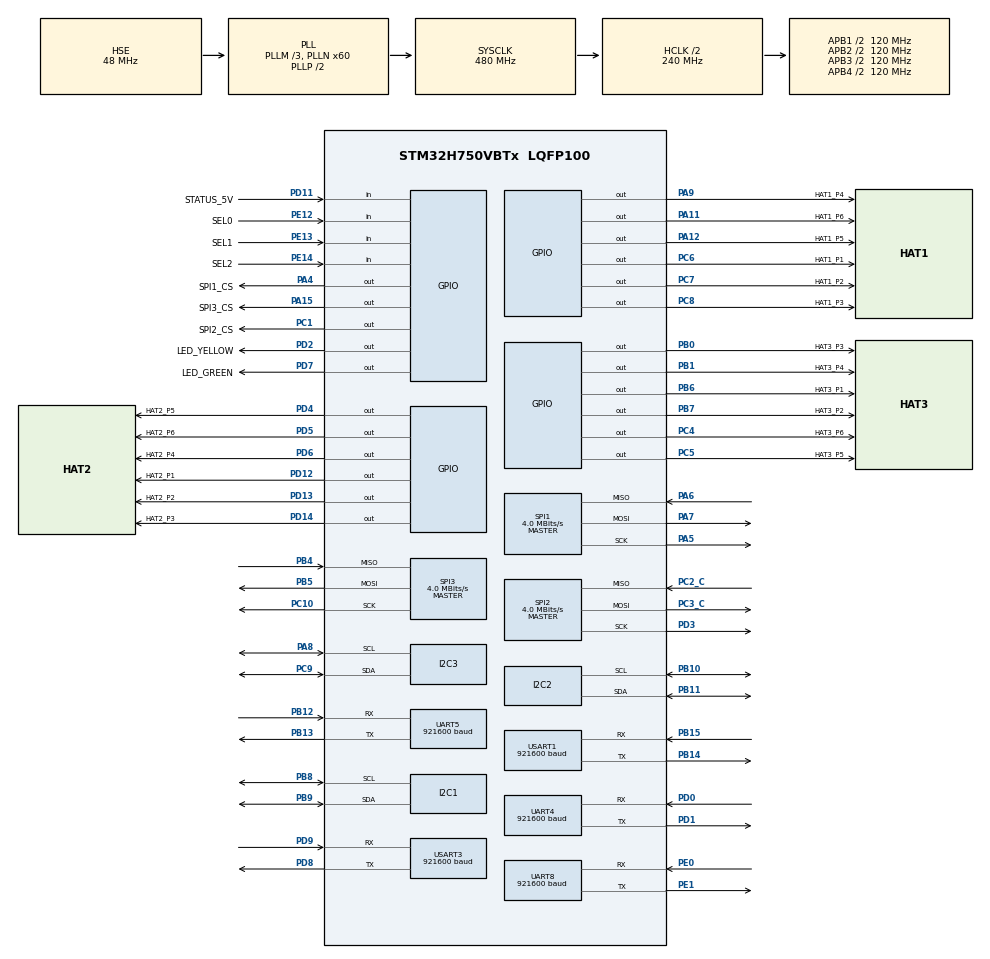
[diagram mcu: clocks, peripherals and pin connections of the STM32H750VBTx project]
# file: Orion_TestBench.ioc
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CORTEX_M7.AccessPermission-Cortex_Memory_Protection_Unit_Region0_Settings=MPU_REGION_FULL_ACCESS
CORTEX_M7.AccessPermission-Cortex_Memory_Protection_Unit_Region1_Settings=MPU_REGION_FULL_ACCESS
CORTEX_M7.BaseAddress-Cortex_Memory_Protection_Unit_Region0_Settings=0x90000000
CORTEX_M7.BaseAddress-Cortex_Memory_Protection_Unit_Region1_Settings=0x90000000
CORTEX_M7.CPU_DCache=Enabled
CORTEX_M7.CPU_ICache=Enabled
CORTEX_M7.DisableExec-Cortex_Memory_Protection_Unit_Region0_Settings=MPU_INSTRUCTION_ACCESS_DISABLE
CORTEX_M7.DisableExec-Cortex_Memory_Protection_Unit_Region1_Settings=MPU_INSTRUCTION_ACCESS_ENABLE
CORTEX_M7.Enable-Cortex_Memory_Protection_Unit_Region0_Settings=MPU_REGION_ENABLE
CORTEX_M7.Enable-Cortex_Memory_Protection_Unit_Region1_Settings=MPU_REGION_ENABLE
CORTEX_M7.IsBufferable-Cortex_Memory_Protection_Unit_Region0_Settings=MPU_ACCESS_BUFFERABLE
CORTEX_M7.IsBufferable-Cortex_Memory_Protection_Unit_Region1_Settings=MPU_ACCESS_BUFFERABLE
CORTEX_M7.IsCacheable-Cortex_Memory_Protection_Unit_Region0_Settings=MPU_ACCESS_CACHEABLE
CORTEX_M7.IsCacheable-Cortex_Memory_Protection_Unit_Region1_Settings=MPU_ACCESS_CACHEABLE
CORTEX_M7.MPU_Control=MPU_PRIVILEGED_DEFAULT
CORTEX_M7.Size-Cortex_Memory_Protection_Unit_Region0_Settings=MPU_REGION_SIZE_16MB
CORTEX_M7.Size-Cortex_Memory_Protection_Unit_Region1_Settings=MPU_REGION_SIZE_1MB
Dma.Request0=UART4_RX
Dma.Request1=UART5_RX
Dma.Request2=UART8_RX
Dma.Request3=USART3_RX
Dma.UART4_RX.0.Direction=DMA_PERIPH_TO_MEMORY
Dma.UART4_RX.0.EventEnable=DISABLE
Dma.UART4_RX.0.FIFOMode=DMA_FIFOMODE_DISABLE
Dma.UART4_RX.0.Instance=DMA1_Stream1
Dma.UART4_RX.0.MemDataAlignment=DMA_MDATAALIGN_BYTE
Dma.UART4_RX.0.MemInc=DMA_MINC_ENABLE
Dma.UART4_RX.0.Mode=DMA_CIRCULAR
Dma.UART4_RX.0.PeriphDataAlignment=DMA_PDATAALIGN_BYTE
Dma.UART4_RX.0.PeriphInc=DMA_PINC_DISABLE
Dma.UART4_RX.0.Polarity=HAL_DMAMUX_REQ_GEN_RISING
Dma.UART4_RX.0.Priority=DMA_PRIORITY_HIGH
Dma.UART4_RX.0.RequestNumber=1
Dma.UART4_RX.0.SignalID=NONE
Dma.UART4_RX.0.SyncEnable=DISABLE
Dma.UART4_RX.0.SyncPolarity=HAL_DMAMUX_SYNC_NO_EVENT
Dma.UART4_RX.0.SyncRequestNumber=1
Dma.UART4_RX.0.SyncSignalID=NONE
Dma.UART5_RX.1.Direction=DMA_PERIPH_TO_MEMORY
Dma.UART5_RX.1.EventEnable=DISABLE
Dma.UART5_RX.1.FIFOMode=DMA_FIFOMODE_DISABLE
Dma.UART5_RX.1.Instance=DMA1_Stream2
Dma.UART5_RX.1.MemDataAlignment=DMA_MDATAALIGN_BYTE
Dma.UART5_RX.1.MemInc=DMA_MINC_ENABLE
Dma.UART5_RX.1.Mode=DMA_CIRCULAR
Dma.UART5_RX.1.PeriphDataAlignment=DMA_PDATAALIGN_BYTE
Dma.UART5_RX.1.PeriphInc=DMA_PINC_DISABLE
Dma.UART5_RX.1.Polarity=HAL_DMAMUX_REQ_GEN_RISING
Dma.UART5_RX.1.Priority=DMA_PRIORITY_HIGH
Dma.UART5_RX.1.RequestNumber=1
Dma.UART5_RX.1.SignalID=NONE
Dma.UART5_RX.1.SyncEnable=DISABLE
Dma.UART5_RX.1.SyncPolarity=HAL_DMAMUX_SYNC_NO_EVENT
Dma.UART5_RX.1.SyncRequestNumber=1
Dma.UART5_RX.1.SyncSignalID=NONE
Dma.UART8_RX.2.Direction=DMA_PERIPH_TO_MEMORY
Dma.UART8_RX.2.EventEnable=DISABLE
Dma.UART8_RX.2.FIFOMode=DMA_FIFOMODE_DISABLE
Dma.UART8_RX.2.Instance=DMA1_Stream3
Dma.UART8_RX.2.MemDataAlignment=DMA_MDATAALIGN_BYTE
Dma.UART8_RX.2.MemInc=DMA_MINC_ENABLE
Dma.UART8_RX.2.Mode=DMA_CIRCULAR
Dma.UART8_RX.2.PeriphDataAlignment=DMA_PDATAALIGN_BYTE
Dma.UART8_RX.2.PeriphInc=DMA_PINC_DISABLE
Dma.UART8_RX.2.Polarity=HAL_DMAMUX_REQ_GEN_RISING
Dma.UART8_RX.2.Priority=DMA_PRIORITY_HIGH
Dma.UART8_RX.2.RequestNumber=1
Dma.UART8_RX.2.SignalID=NONE
Dma.UART8_RX.2.SyncEnable=DISABLE
Dma.UART8_RX.2.SyncPolarity=HAL_DMAMUX_SYNC_NO_EVENT
Dma.UART8_RX.2.SyncRequestNumber=1
Dma.UART8_RX.2.SyncSignalID=NONE
Dma.USART3_RX.3.Direction=DMA_PERIPH_TO_MEMORY
Dma.USART3_RX.3.EventEnable=DISABLE
Dma.USART3_RX.3.FIFOMode=DMA_FIFOMODE_DISABLE
Dma.USART3_RX.3.Instance=DMA1_Stream0
Dma.USART3_RX.3.MemDataAlignment=DMA_MDATAALIGN_BYTE
Dma.USART3_RX.3.MemInc=DMA_MINC_ENABLE
Dma.USART3_RX.3.Mode=DMA_CIRCULAR
Dma.USART3_RX.3.PeriphDataAlignment=DMA_PDATAALIGN_BYTE
Dma.USART3_RX.3.PeriphInc=DMA_PINC_DISABLE
Dma.USART3_RX.3.Polarity=HAL_DMAMUX_REQ_GEN_RISING
Dma.USART3_RX.3.Priority=DMA_PRIORITY_HIGH
Dma.USART3_RX.3.RequestNumber=1
Dma.USART3_RX.3.SignalID=NONE
Dma.USART3_RX.3.SyncEnable=DISABLE
Dma.USART3_RX.3.SyncPolarity=HAL_DMAMUX_SYNC_NO_EVENT
Dma.USART3_RX.3.SyncRequestNumber=1
Dma.USART3_RX.3.SyncSignalID=NONE
FREERTOS.Tasks01=blink01,24,128,StartBlink01,Default,NULL,Dynamic,NULL,NULL;adsTask,40,1024,StartAdsTask,Default,NULL,Dynamic,NULL,NULL;gpioTask,40,128,StartGPIOTask,Default,NULL,Dynamic,NULL,NULL;bmpTask,40,1024,StartBMPTask,Default,NULL,Dynamic,NULL,NULL
FREERTOS.configUSE_NEWLIB_REENTRANT=1
I2C1.Timing=0x307075B1
I2C2.Timing=0x307075B1
I2C3.Timing=0x307075B1
Mcu.Family=STM32H7
Mcu.Name=STM32H750VBTx
Mcu.Package=LQFP100
NVIC.DMA1_Stream0_IRQn=true\:5\:0\:false\:false\:true\:true\:false\:true\:true
NVIC.DMA1_Stream1_IRQn=true\:5\:0\:false\:false\:true\:true\:false\:true\:true
NVIC.DMA1_Stream2_IRQn=true\:5\:0\:false\:false\:true\:true\:false\:true\:true
NVIC.DMA1_Stream3_IRQn=true\:5\:0\:false\:false\:true\:true\:false\:true\:true
NVIC.PriorityGroup=NVIC_PRIORITYGROUP_4
NVIC.TIM6_DAC_IRQn=true\:15\:0\:false\:false\:true\:false\:false\:true\:true
NVIC.TimeBase=TIM6_DAC_IRQn
NVIC.TimeBaseIP=TIM6
NVIC.UART4_IRQn=true\:5\:0\:false\:false\:true\:true\:true\:true\:true
NVIC.UART5_IRQn=true\:5\:0\:false\:false\:true\:true\:true\:true\:true
NVIC.UART8_IRQn=true\:5\:0\:false\:false\:true\:true\:true\:true\:true
NVIC.USART3_IRQn=true\:5\:0\:false\:false\:true\:true\:true\:true\:true
PA11.GPIO_Label=HAT1_P6
PA11.Signal=GPIO_Output
PA12.GPIO_Label=HAT1_P5
PA12.Signal=GPIO_Output
PA13\ (JTMS/SWDIO).Signal=DEBUG_JTMS-SWDIO
PA14\ (JTCK/SWCLK).Signal=DEBUG_JTCK-SWCLK
PA15\ (JTDI).GPIO_Label=SPI3_CS
PA15\ (JTDI).Signal=GPIO_Output
PA4.GPIO_Label=SPI1_CS
PA4.Signal=GPIO_Output
PA5.Mode=Full_Duplex_Master
PA5.Signal=SPI1_SCK
PA6.Mode=Full_Duplex_Master
PA6.Signal=SPI1_MISO
PA7.Mode=Full_Duplex_Master
PA7.Signal=SPI1_MOSI
PA8.Mode=I2C
PA8.Signal=I2C3_SCL
PA9.GPIO_Label=HAT1_P4
PA9.Signal=GPIO_Output
PB0.GPIO_Label=HAT3_P3
PB0.Signal=GPIO_Output
PB1.GPIO_Label=HAT3_P4
PB1.Signal=GPIO_Output
PB10.Mode=I2C
PB10.Signal=I2C2_SCL
PB11.Mode=I2C
PB11.Signal=I2C2_SDA
PB12.Mode=Asynchronous
PB12.Signal=UART5_RX
PB13.Mode=Asynchronous
PB13.Signal=UART5_TX
PB14.Mode=Asynchronous
PB14.Signal=USART1_TX
PB15.Mode=Asynchronous
PB15.Signal=USART1_RX
PB3\ (JTDO/TRACESWO).Signal=DEBUG_JTDO-SWO
PB4\ (NJTRST).Mode=Full_Duplex_Master
PB4\ (NJTRST).Signal=SPI3_MISO
PB5.Mode=Full_Duplex_Master
PB5.Signal=SPI3_MOSI
PB6.GPIO_Label=HAT3_P1
PB6.Signal=GPIO_Output
PB7.GPIO_Label=HAT3_P2
PB7.Signal=GPIO_Output
PB8.GPIO_Pu=GPIO_NOPULL
PB8.Mode=I2C
PB8.Signal=I2C1_SCL
PB9.GPIO_Pu=GPIO_NOPULL
PB9.Mode=I2C
PB9.Signal=I2C1_SDA
PC1.GPIO_Label=SPI2_CS
PC1.Signal=GPIO_Output
PC10.Mode=Full_Duplex_Master
PC10.Signal=SPI3_SCK
PC14-OSC32_IN\ (OSC32_IN).Mode=LSE-External-Oscillator
PC14-OSC32_IN\ (OSC32_IN).Signal=RCC_OSC32_IN
PC15-OSC32_OUT\ (OSC32_OUT).Mode=LSE-External-Oscillator
PC15-OSC32_OUT\ (OSC32_OUT).Signal=RCC_OSC32_OUT
PC2_C.Mode=Full_Duplex_Master
PC2_C.Signal=SPI2_MISO
PC3_C.Mode=Full_Duplex_Master
PC3_C.Signal=SPI2_MOSI
PC4.GPIO_Label=HAT3_P6
PC4.Signal=GPIO_Output
PC5.GPIO_Label=HAT3_P5
PC5.Signal=GPIO_Output
PC6.GPIO_Label=HAT1_P1
PC6.Signal=GPIO_Output
PC7.GPIO_Label=HAT1_P2
PC7.Signal=GPIO_Output
PC8.GPIO_Label=HAT1_P3
PC8.Signal=GPIO_Output
PC9.Mode=I2C
PC9.Signal=I2C3_SDA
PD0.Mode=Asynchronous
PD0.Signal=UART4_RX
PD1.Mode=Asynchronous
PD1.Signal=UART4_TX
PD11.GPIO_Label=STATUS_5V
PD11.Signal=GPIO_Input
PD12.GPIO_Label=HAT2_P1
PD12.Signal=GPIO_Output
PD13.GPIO_Label=HAT2_P2
PD13.Signal=GPIO_Output
PD14.GPIO_Label=HAT2_P3
PD14.Signal=GPIO_Output
PD2.GPIO_Label=LED_YELLOW
PD2.Signal=GPIO_Output
PD3.Mode=Full_Duplex_Master
PD3.Signal=SPI2_SCK
PD4.GPIO_Label=HAT2_P5
PD4.Signal=GPIO_Output
PD5.GPIO_Label=HAT2_P6
PD5.Signal=GPIO_Output
PD6.GPIO_Label=HAT2_P4
PD6.Signal=GPIO_Output
PD7.GPIO_Label=LED_GREEN
PD7.Signal=GPIO_Output
PD8.Mode=Asynchronous
PD8.Signal=USART3_TX
PD9.Mode=Asynchronous
PD9.Signal=USART3_RX
PE0.Mode=Asynchronous
PE0.Signal=UART8_RX
PE1.Mode=Asynchronous
PE1.Signal=UART8_TX
PE12.GPIO_Label=SEL0
PE12.Signal=GPIO_Input
PE13.GPIO_Label=SEL1
PE13.Signal=GPIO_Input
PE14.GPIO_Label=SEL2
PE14.Signal=GPIO_Input
PH0-OSC_IN\ (PH0).Mode=HSE-External-Oscillator
PH0-OSC_IN\ (PH0).Signal=RCC_OSC_IN
PH1-OSC_OUT\ (PH1).Mode=HSE-External-Oscillator
PH1-OSC_OUT\ (PH1).Signal=RCC_OSC_OUT
ProjectManager.HeapSize=0x200
ProjectManager.StackSize=0x400
ProjectManager.TargetToolchain=STM32CubeIDE
RCC.ADCFreq_Value=96750000
RCC.APB1Freq_Value=120000000
RCC.APB2Freq_Value=120000000
RCC.APB3Freq_Value=120000000
RCC.APB4Freq_Value=120000000
RCC.CortexFreq_Value=480000000
RCC.D1PPRE=RCC_APB3_DIV2
RCC.D2PPRE1=RCC_APB1_DIV2
RCC.D2PPRE2=RCC_APB2_DIV2
RCC.D3PPRE=RCC_APB4_DIV2
RCC.DIVM1=3
RCC.DIVN1=60
RCC.HCLKFreq_Value=240000000
RCC.HPRE=RCC_HCLK_DIV2
RCC.HSE_VALUE=48000000
RCC.PLLFRACN=0
RCC.PLLSourceVirtual=RCC_PLLSOURCE_HSE
RCC.SPI123CLockSelection=RCC_SPI123CLKSOURCE_CLKP
RCC.SYSCLKFreq_VALUE=480000000
RCC.SYSCLKSource=RCC_SYSCLKSOURCE_PLLCLK
RCC.USBFreq_Value=480000000
SPI1.BaudRatePrescaler=SPI_BAUDRATEPRESCALER_16
SPI1.CLKPhase=SPI_PHASE_2EDGE
SPI1.CLKPolarity=SPI_POLARITY_HIGH
SPI1.CalculateBaudRate=4.0 MBits/s
SPI1.DataSize=SPI_DATASIZE_8BIT
SPI1.Direction=SPI_DIRECTION_2LINES
SPI1.Mode=SPI_MODE_MASTER
SPI1.VirtualType=VM_MASTER
SPI2.BaudRatePrescaler=SPI_BAUDRATEPRESCALER_16
SPI2.CLKPhase=SPI_PHASE_2EDGE
SPI2.CLKPolarity=SPI_POLARITY_HIGH
SPI2.CalculateBaudRate=4.0 MBits/s
SPI2.DataSize=SPI_DATASIZE_8BIT
SPI2.Direction=SPI_DIRECTION_2LINES
SPI2.Mode=SPI_MODE_MASTER
SPI2.VirtualType=VM_MASTER
SPI3.BaudRatePrescaler=SPI_BAUDRATEPRESCALER_16
SPI3.CLKPhase=SPI_PHASE_2EDGE
SPI3.CLKPolarity=SPI_POLARITY_HIGH
SPI3.CalculateBaudRate=4.0 MBits/s
SPI3.DataSize=SPI_DATASIZE_8BIT
SPI3.Direction=SPI_DIRECTION_2LINES
SPI3.Mode=SPI_MODE_MASTER
SPI3.VirtualType=VM_MASTER
TIM8.AutoReloadPreload=TIM_AUTORELOAD_PRELOAD_ENABLE
TIM8.Period=20000-1
TIM8.Prescaler=240-1
UART4.BaudRate=921600
UART5.BaudRate=921600
UART8.BaudRate=921600
USART1.BaudRate=921600
USART1.VirtualMode-Asynchronous=VM_ASYNC
USART3.BaudRate=921600
USART3.VirtualMode-Asynchronous=VM_ASYNC
VP_FREERTOS_VS_CMSIS_V2.Mode=CMSIS_V2
VP_SYS_VS_tim6.Mode=TIM6
VP_TIM8_VS_ClockSourceINT.Mode=Internal
board=custom

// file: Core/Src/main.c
/* USER CODE BEGIN Header */
/**
  ******************************************************************************
  * @file           : main.c
  * @brief          : Main program body
  ******************************************************************************
  * @attention
  *
  * Copyright (c) 2022 STMicroelectronics.
  * All rights reserved.
  *
  * This software is licensed under terms that can be found in the LICENSE file
  * in the root directory of this software component.
  * If no LICENSE file comes with this software, it is provided AS-IS.
  *
  ******************************************************************************
  */
/* USER CODE END Header */
#include "main.h"
#include "cmsis_os.h"
#include "dma.h"
#include "i2c.h"
#include "spi.h"
#include "tim.h"
#include "usart.h"
#include "gpio.h"

/* USER CODE BEGIN Includes */
#include "stdio.h"
/* USER CODE END Includes */

void SystemClock_Config(void);
void PeriphCommonClock_Config(void);
static void MPU_Config(void);
void MX_FREERTOS_Init(void);

/* USER CODE BEGIN 0 */
uint8_t Rx_data[100] = {0};

uint16_t counter = 0;
int __io_putchar(int ch) {
    ITM_SendChar(ch);
    return ch;
}

void HAL_UART_RxCpltCallback(UART_HandleTypeDef *huart)
{
  SCB_InvalidateDCache_by_Addr((uint32_t*)(((uint32_t)Rx_data) & ~(uint32_t)0x1F), 100+32);
  HAL_UART_Receive_DMA(&huart3, Rx_data, 100);
  HAL_UART_Transmit(&huart1, Rx_data, sizeof(Rx_data), 100);
}

/* USER CODE END 0 */

int main(void)
{

  /* MPU Configuration--------------------------------------------------------*/
  MPU_Config();

  /* Enable I-Cache---------------------------------------------------------*/
  SCB_EnableICache();

  /* Enable D-Cache---------------------------------------------------------*/
  SCB_EnableDCache();

  /* MCU Configuration--------------------------------------------------------*/

  /* Reset of all peripherals, Initializes the Flash interface and the Systick. */
  HAL_Init();

  /* Configure the system clock */
  SystemClock_Config();

/* Configure the peripherals common clocks */
  PeriphCommonClock_Config();

  /* Initialize all configured peripherals */
  MX_GPIO_Init();
  MX_DMA_Init();
  MX_I2C1_Init();
  MX_I2C2_Init();
  MX_I2C3_Init();
  MX_SPI1_Init();
  MX_SPI2_Init();
  MX_SPI3_Init();
  MX_TIM8_Init();
  MX_USART1_UART_Init();
  MX_USART3_UART_Init();
  MX_UART4_Init();
  MX_UART5_Init();
  MX_UART8_Init();
  /* USER CODE BEGIN 2 */
  uint8_t MSG[100] = {0};
  uint8_t MSG_PWR[45] = {'\0'};
  HAL_TIM_PWM_Start (&htim8, TIM_CHANNEL_1);
//  TIM8->CCR1 = 1;
  int32_t CH1_DC = 1000;

  HAL_UART_Receive_DMA(&huart3, Rx_data, 100);
  /* USER CODE END 2 */

  /* Init scheduler */
  osKernelInitialize();  /* Call init function for freertos objects (in freertos.c) */
  MX_FREERTOS_Init();

  /* Start scheduler */
  osKernelStart();

  /* We should never get here as control is now taken by the scheduler */
  /* Infinite loop */
  while (1)
  {

    /* USER CODE BEGIN 3 */
	  counter++;
	  HAL_Delay(1000);
//	  HAL_UART_Receive (&huart3, Rx_data, 100, 1000);
//	  HAL_GPIO_TogglePin(LED_GREEN_GPIO_Port, LED_GREEN_Pin);
//	  HAL_GPIO_TogglePin(LED_YELLOW_GPIO_Port, LED_YELLOW_Pin);
	  printf("Hello world! %d \n", counter);
//	  printf("\n\nCore=%d, %d MHz\n", SystemCoreClock, SystemCoreClock / 1000000);
	  sprintf((char*)MSG, "Hello world from UART! Tracing counter = %d\r\n", counter);
//	  HAL_UART_Transmit(&huart1, MSG, sizeof(MSG), 100);
//	  HAL_UART_Transmit(&huart5, MSG, sizeof(MSG), 100);
//	  HAL_UART_Transmit(&huart3, MSG, sizeof(MSG), 100);
//	  HAL_UART_Transmit(&huart4, MSG, sizeof(MSG), 100);
//	  HAL_UART_Transmit(&huart8, MSG, sizeof(MSG), 100);
//	  if (HAL_GPIO_ReadPin(STATUS_5V_GPIO_Port, STATUS_5V_Pin)) {
//		  sprintf((char*)MSG_PWR, "Power from external source detected %d \n", counter);
//		  HAL_UART_Transmit(&huart1, MSG_PWR, sizeof(MSG_PWR), 100);
//	  }
//	  while(CH1_DC < 2000)
//	  {
//		  TIM8->CCR1 = CH1_DC;
//		  CH1_DC += 10;
//		  HAL_Delay(2);
//	  }
//	  while(CH1_DC > 1000)
//	  {
//		  TIM8->CCR1 = CH1_DC;
//		  CH1_DC -= 10;
//		  HAL_Delay(2);
//	  }
  }
  /* USER CODE END 3 */
}

void SystemClock_Config(void)
{
  RCC_OscInitTypeDef RCC_OscInitStruct = {0};
  RCC_ClkInitTypeDef RCC_ClkInitStruct = {0};

  /** Supply configuration update enable
  */
  HAL_PWREx_ConfigSupply(PWR_LDO_SUPPLY);

  /** Configure the main internal regulator output voltage
  */
  __HAL_PWR_VOLTAGESCALING_CONFIG(PWR_REGULATOR_VOLTAGE_SCALE1);

  while(!__HAL_PWR_GET_FLAG(PWR_FLAG_VOSRDY)) {}

  __HAL_RCC_SYSCFG_CLK_ENABLE();
  __HAL_PWR_VOLTAGESCALING_CONFIG(PWR_REGULATOR_VOLTAGE_SCALE0);

  while(!__HAL_PWR_GET_FLAG(PWR_FLAG_VOSRDY)) {}

  /** Initializes the RCC Oscillators according to the specified parameters
  * in the RCC_OscInitTypeDef structure.
  */
  RCC_OscInitStruct.OscillatorType = RCC_OSCILLATORTYPE_HSI|RCC_OSCILLATORTYPE_HSE;
  RCC_OscInitStruct.HSEState = RCC_HSE_ON;
  RCC_OscInitStruct.HSIState = RCC_HSI_DIV1;
  RCC_OscInitStruct.HSICalibrationValue = RCC_HSICALIBRATION_DEFAULT;
  RCC_OscInitStruct.PLL.PLLState = RCC_PLL_ON;
  RCC_OscInitStruct.PLL.PLLSource = RCC_PLLSOURCE_HSE;
  RCC_OscInitStruct.PLL.PLLM = 3;
  RCC_OscInitStruct.PLL.PLLN = 60;
  RCC_OscInitStruct.PLL.PLLP = 2;
  RCC_OscInitStruct.PLL.PLLQ = 2;
  RCC_OscInitStruct.PLL.PLLR = 2;
  RCC_OscInitStruct.PLL.PLLRGE = RCC_PLL1VCIRANGE_3;
  RCC_OscInitStruct.PLL.PLLVCOSEL = RCC_PLL1VCOWIDE;
  RCC_OscInitStruct.PLL.PLLFRACN = 0;
  if (HAL_RCC_OscConfig(&RCC_OscInitStruct) != HAL_OK)
  {
    Error_Handler();
  }

  /** Initializes the CPU, AHB and APB buses clocks
  */
  RCC_ClkInitStruct.ClockType = RCC_CLOCKTYPE_HCLK|RCC_CLOCKTYPE_SYSCLK
                              |RCC_CLOCKTYPE_PCLK1|RCC_CLOCKTYPE_PCLK2
                              |RCC_CLOCKTYPE_D3PCLK1|RCC_CLOCKTYPE_D1PCLK1;
  RCC_ClkInitStruct.SYSCLKSource = RCC_SYSCLKSOURCE_PLLCLK;
  RCC_ClkInitStruct.SYSCLKDivider = RCC_SYSCLK_DIV1;
  RCC_ClkInitStruct.AHBCLKDivider = RCC_HCLK_DIV2;
  RCC_ClkInitStruct.APB3CLKDivider = RCC_APB3_DIV2;
  RCC_ClkInitStruct.APB1CLKDivider = RCC_APB1_DIV2;
  RCC_ClkInitStruct.APB2CLKDivider = RCC_APB2_DIV2;
  RCC_ClkInitStruct.APB4CLKDivider = RCC_APB4_DIV2;

  if (HAL_RCC_ClockConfig(&RCC_ClkInitStruct, FLASH_LATENCY_4) != HAL_OK)
  {
    Error_Handler();
  }
}

void PeriphCommonClock_Config(void)
{
  RCC_PeriphCLKInitTypeDef PeriphClkInitStruct = {0};

  /** Initializes the peripherals clock
  */
  PeriphClkInitStruct.PeriphClockSelection = RCC_PERIPHCLK_CKPER;
  PeriphClkInitStruct.CkperClockSelection = RCC_CLKPSOURCE_HSI;
  if (HAL_RCCEx_PeriphCLKConfig(&PeriphClkInitStruct) != HAL_OK)
  {
    Error_Handler();
  }
}

/* MPU Configuration */

void MPU_Config(void)
{
  MPU_Region_InitTypeDef MPU_InitStruct = {0};

  /* Disables the MPU */
  HAL_MPU_Disable();

  /** Initializes and configures the Region and the memory to be protected
  */
  MPU_InitStruct.Enable = MPU_REGION_ENABLE;
  MPU_InitStruct.Number = MPU_REGION_NUMBER0;
  MPU_InitStruct.BaseAddress = 0x90000000;
  MPU_InitStruct.Size = MPU_REGION_SIZE_16MB;
  MPU_InitStruct.SubRegionDisable = 0x0;
  MPU_InitStruct.TypeExtField = MPU_TEX_LEVEL0;
  MPU_InitStruct.AccessPermission = MPU_REGION_FULL_ACCESS;
  MPU_InitStruct.DisableExec = MPU_INSTRUCTION_ACCESS_DISABLE;
  MPU_InitStruct.IsShareable = MPU_ACCESS_NOT_SHAREABLE;
  MPU_InitStruct.IsCacheable = MPU_ACCESS_CACHEABLE;
  MPU_InitStruct.IsBufferable = MPU_ACCESS_BUFFERABLE;

  HAL_MPU_ConfigRegion(&MPU_InitStruct);

  /** Initializes and configures the Region and the memory to be protected
  */
  MPU_InitStruct.Number = MPU_REGION_NUMBER1;
  MPU_InitStruct.Size = MPU_REGION_SIZE_1MB;
  MPU_InitStruct.DisableExec = MPU_INSTRUCTION_ACCESS_ENABLE;

  HAL_MPU_ConfigRegion(&MPU_InitStruct);
  /* Enables the MPU */
  HAL_MPU_Enable(MPU_PRIVILEGED_DEFAULT);

}

void HAL_TIM_PeriodElapsedCallback(TIM_HandleTypeDef *htim)
{
  if (htim->Instance == TIM6) {
    HAL_IncTick();
  }
}

void Error_Handler(void)
{
  __disable_irq();
  while (1)
  {
  }
}

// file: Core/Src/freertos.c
/* USER CODE BEGIN Header */
/**
  ******************************************************************************
  * File Name          : freertos.c
  * Description        : Code for freertos applications
  ******************************************************************************
  * @attention
  *
  * Copyright (c) 2022 STMicroelectronics.
  * All rights reserved.
  *
  * This software is licensed under terms that can be found in the LICENSE file
  * in the root directory of this software component.
  * If no LICENSE file comes with this software, it is provided AS-IS.
  *
  ******************************************************************************
  */
/* USER CODE END Header */

#include "FreeRTOS.h"
#include "task.h"
#include "main.h"
#include "cmsis_os.h"

/* USER CODE BEGIN Includes */
#include "i2c.h"
#include "ADS1113.h"
#include "BMP280.hpp"
#include <stdbool.h>
/* USER CODE END Includes */

/* USER CODE BEGIN Variables */
ads1113_t voltmeter;
/* USER CODE END Variables */
/* Definitions for blink01 */
osThreadId_t blink01Handle;
const osThreadAttr_t blink01_attributes = {
  .name = "blink01",
  .stack_size = 128 * 4,
  .priority = (osPriority_t) osPriorityNormal,
};
/* Definitions for adsTask */
osThreadId_t adsTaskHandle;
const osThreadAttr_t adsTask_attributes = {
  .name = "adsTask",
  .stack_size = 1024 * 4,
  .priority = (osPriority_t) osPriorityHigh,
};
/* Definitions for gpioTask */
osThreadId_t gpioTaskHandle;
const osThreadAttr_t gpioTask_attributes = {
  .name = "gpioTask",
  .stack_size = 128 * 4,
  .priority = (osPriority_t) osPriorityHigh,
};

void StartBlink01(void *argument);
void StartAdsTask(void *argument);
void StartGPIOTask(void *argument);

void MX_FREERTOS_Init(void); /* (MISRA C 2004 rule 8.1) */

void MX_FREERTOS_Init(void) {

  /* Create the thread(s) */
  /* creation of blink01 */
  blink01Handle = osThreadNew(StartBlink01, NULL, &blink01_attributes);

  /* creation of adsTask */
  adsTaskHandle = osThreadNew(StartAdsTask, NULL, &adsTask_attributes);

  /* creation of gpioTask */
  gpioTaskHandle = osThreadNew(StartGPIOTask, NULL, &gpioTask_attributes);

}

void StartBlink01(void *argument)
{
  /* USER CODE BEGIN StartBlink01 */
  /* Infinite loop */
  for(;;)
  {
	HAL_GPIO_TogglePin(LED_GREEN_GPIO_Port, LED_GREEN_Pin);
    osDelay(1000);
  }
  /* USER CODE END StartBlink01 */
}

void StartAdsTask(void *argument)
{
  /* USER CODE BEGIN StartAdsTask */
	bool success = ADS1113_init(&voltmeter, &hi2c1, ADS_ADDR_GND);
	ADSsetGain(&voltmeter, GAIN_ONE);
  /* Infinite loop */
  for(;;)
  {
    osDelay(1);
    if (success) {
		int16_t val = ADSreadADC_Differential_0_1(&voltmeter);
		printf("Differential value %d \n", val);
	}
  }
  /* USER CODE END StartAdsTask */
}

void StartGPIOTask(void *argument)
{
  /* USER CODE BEGIN StartGPIOTask */
  BMP280 bmp(&hspi1);
  bmp.initialize();
  /* Infinite loop */
  for(;;)
  {
    osDelay(1);
  }
  /* USER CODE END StartGPIOTask */
}

/* USER CODE BEGIN Application */
//void StartBlink02(void *argument)
//{
//  /* USER CODE BEGIN StartBlink02 */
//  bool success = ADS1113_init(&voltmeter, &hi2c1, ADS_ADDR_GND);
//  HAL_StatusTypeDef status = HAL_I2C_IsDeviceReady(&hi2c1, ADS_ADDR_GND<<1, 10, 100);
//  ADSsetGain(&voltmeter, GAIN_ONE);
//  /* Infinite loop */
//  for(;;)
//  {
//	HAL_GPIO_TogglePin(LED_YELLOW_GPIO_Port, LED_YELLOW_Pin);
//    osDelay(600);
//    status = HAL_I2C_IsDeviceReady(&hi2c1, ADS_ADDR_GND<<1, 10, 100);
////    printf("Differential value %d \n", ADSreadADC_Differential_0_1(&hi2c1));
//    if (success) {
//    	status = HAL_I2C_IsDeviceReady(&hi2c1, ADS_ADDR_GND<<1, 10, 100);
//		int16_t val = ADSreadADC_Differential_0_1(&voltmeter);
//		printf("Differential value %d \n", val);
//    }
////    printf("Single ended value %d \n", ADSreadADC_SingleEnded(&hi2c1));
//  }
//  /* USER CODE END StartBlink02 */
//}
/* USER CODE END Application */
